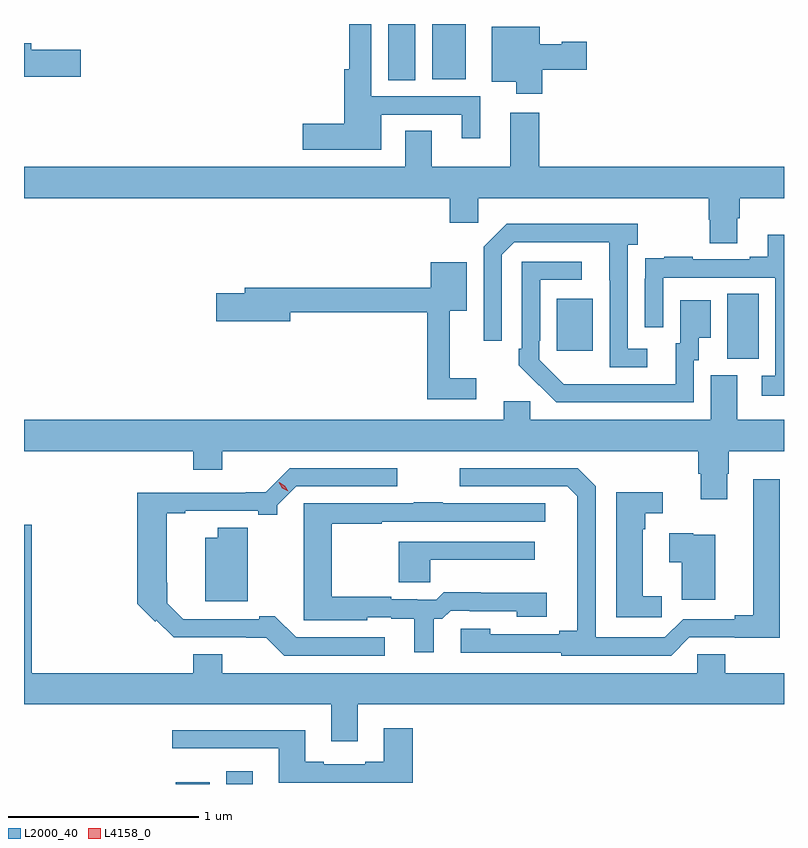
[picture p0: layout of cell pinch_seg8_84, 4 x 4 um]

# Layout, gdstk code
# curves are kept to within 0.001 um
import gdstk
lib = gdstk.Library(unit=1e-6, precision=1e-09)
def R(c, l, rs):  # rectangles x0, y0, x1, y1
    for r in rs: c.add(gdstk.rectangle(r[:2], r[2:], *l))
def P(c, l, *ps):  # polygons
    for p in ps: c.add(gdstk.Polygon(p, *l))
L2000_40 = (2000, 40)
L4158_0 = (4158, 0)

pinch_seg8_84 = lib.new_cell('pinch_seg8_84')
R(pinch_seg8_84, L2000_40, [(1019.156,1110.752,1019.335,1110.76), (1019.423,1110.752,1019.563,1110.82), (1022.06,1112.989,1022.224,1113.332), (1021.163,1113.033,1021.351,1113.307), (1020.275,1114.456,1020.418,1114.752), (1020.506,1114.46,1020.682,1114.752)])
P(pinch_seg8_84, L2000_40, [(1020.238,1114.275),(1020.662,1114.275),(1020.662,1114.152),(1020.76,1114.152),(1020.76,1114.371),(1020.186,1114.371),(1020.186,1114.752),(1020.07,1114.752),(1020.07,1114.513),(1020.044,1114.513),(1020.044,1114.226),(1019.826,1114.226),(1019.826,1114.091),(1020.238,1114.091)],
  [(1021.085,1114.511),(1021.321,1114.511),(1021.321,1114.658),(1021.188,1114.658),(1021.188,1114.645),(1021.072,1114.645),(1021.072,1114.738),(1020.821,1114.738),(1020.821,1114.448),(1020.95,1114.448),(1020.95,1114.386),(1021.085,1114.386)],
  [(1018.657,1114.616),(1018.396,1114.616),(1018.396,1114.652),(1018.358,1114.652),(1018.358,1114.474),(1018.657,1114.474)],
  [(1022.113,1113.73),(1022.126,1113.73),(1022.126,1113.836),(1022.358,1113.836),(1022.358,1114),(1021.07,1114),(1021.07,1114.285),(1020.917,1114.285),(1020.917,1114),(1020.505,1114),(1020.505,1114.19),(1020.365,1114.19),(1020.365,1114),(1018.358,1114),(1018.358,1113.836),(1020.599,1113.836),(1020.599,1113.705),(1020.75,1113.705),(1020.75,1113.836),(1021.961,1113.836),(1021.961,1113.723),(1021.966,1113.723),(1021.966,1113.598),(1022.113,1113.598)],
  [(1021.639,1113.042),(1021.536,1113.042),(1021.536,1113.59),(1021.588,1113.59),(1021.588,1113.7),(1020.898,1113.7),(1020.777,1113.579),(1020.777,1113.084),(1020.873,1113.084),(1020.873,1113.537),(1020.939,1113.603),(1021.439,1113.603),(1021.44,1112.946),(1021.639,1112.946)],
  [(1022.358,1113.643),(1022.273,1113.643),(1022.273,1113.526),(1022.177,1113.526),(1022.177,1113.513),(1021.877,1113.513),(1021.877,1113.526),(1021.729,1113.526),(1021.729,1113.519),(1021.627,1113.519),(1021.627,1113.41),(1021.626,1113.41),(1021.626,1113.156),(1021.722,1113.156),(1021.722,1113.417),(1022.313,1113.417),(1022.313,1112.901),(1022.241,1112.901),(1022.241,1112.796),(1022.358,1112.796)],
  [(1021.884,1112.982),(1021.909,1112.982),(1021.909,1113.101),(1021.972,1113.101),(1021.972,1113.298),(1021.811,1113.298),(1021.811,1113.072),(1021.787,1113.072),(1021.787,1112.856),(1021.2,1112.857),(1021.071,1112.985),(1021.071,1113.085),(1021.074,1113.085),(1021.074,1113.405),(1021.294,1113.405),(1021.294,1113.501),(1020.978,1113.501),(1020.978,1113.043),(1020.963,1113.043),(1020.963,1112.955),(1021.16,1112.76),(1021.884,1112.76)],
  [(1020.739,1112.887),(1020.599,1112.887),(1020.599,1113.242),(1020.688,1113.242),(1020.688,1113.499),(1020.5,1113.499),(1020.5,1113.364),(1019.519,1113.364),(1019.519,1113.335),(1019.37,1113.335),(1019.37,1113.188),(1019.758,1113.188),(1019.758,1113.235),(1020.481,1113.235),(1020.481,1112.778),(1020.739,1112.778)],
  [(1022.059,1112.385),(1022.067,1112.385),(1022.067,1112.504),(1022.358,1112.504),(1022.358,1112.668),(1022.113,1112.668),(1022.113,1112.904),(1021.973,1112.904),(1021.973,1112.668),(1021.023,1112.668),(1021.023,1112.766),(1020.884,1112.766),(1020.884,1112.668),(1018.358,1112.668),(1018.358,1112.504),(1019.249,1112.504),(1019.249,1112.405),(1019.401,1112.405),(1019.401,1112.504),(1021.907,1112.504),(1021.907,1112.385),(1021.919,1112.385),(1021.919,1112.25),(1022.059,1112.25)],
  [(1021.86,1111.524),(1022.335,1111.523),(1022.335,1112.356),(1022.195,1112.356),(1022.195,1111.64),(1022.099,1111.64),(1022.099,1111.62),(1021.827,1111.62),(1021.731,1111.524),(1021.368,1111.524),(1021.368,1112.319),(1021.272,1112.415),(1020.651,1112.415),(1020.651,1112.319),(1021.218,1112.319),(1021.271,1112.266),(1021.271,1111.559),(1021.175,1111.559),(1021.175,1111.539),(1020.813,1111.539),(1020.813,1111.57),(1020.657,1111.57),(1020.657,1111.443),(1021.185,1111.443),(1021.185,1111.428),(1021.764,1111.428)],
  [(1020.256,1111.524),(1019.79,1111.524),(1019.678,1111.636),(1019.597,1111.636),(1019.597,1111.62),(1019.196,1111.62),(1019.113,1111.704),(1019.113,1111.81),(1019.11,1111.81),(1019.11,1112.178),(1019.206,1112.178),(1019.206,1112.19),(1019.591,1112.19),(1019.591,1112.17),(1019.691,1112.17),(1019.691,1112.22),(1019.79,1112.319),(1020.322,1112.319),(1020.322,1112.415),(1019.757,1112.415),(1019.63,1112.288),(1019.525,1112.288),(1019.525,1112.286),(1018.955,1112.286),(1018.955,1111.701),(1019.048,1111.607),(1019.055,1111.615),(1019.145,1111.524),(1019.633,1111.523),(1019.727,1111.428),(1020.256,1111.428)],
  [(1021.714,1111.739),(1021.615,1111.739),(1021.615,1112.093),(1021.628,1112.093),(1021.628,1112.178),(1021.72,1112.178),(1021.72,1112.288),(1021.475,1112.288),(1021.475,1111.63),(1021.714,1111.63)],
  [(1020.514,1111.622),(1020.56,1111.622),(1020.603,1111.665),(1020.703,1111.665),(1020.703,1111.662),(1020.952,1111.662),(1020.952,1111.631),(1021.108,1111.631),(1021.108,1111.759),(1020.761,1111.759),(1020.761,1111.762),(1020.568,1111.762),(1020.528,1111.722),(1020.428,1111.722),(1020.428,1111.725),(1020.291,1111.725),(1020.291,1111.738),(1019.979,1111.738),(1019.979,1112.121),(1020.242,1112.121),(1020.242,1112.133),(1021.102,1112.133),(1021.102,1112.229),(1020.563,1112.229),(1020.563,1112.234),(1020.409,1112.234),(1020.409,1112.229),(1019.831,1112.229),(1019.831,1111.613),(1020.165,1111.613),(1020.165,1111.629),(1020.291,1111.629),(1020.291,1111.622),(1020.413,1111.622),(1020.413,1111.446),(1020.514,1111.446)],
  [(1020.115,1111.172),(1022.358,1111.172),(1022.358,1111.336),(1022.049,1111.336),(1022.049,1111.434),(1021.902,1111.434),(1021.902,1111.336),(1019.401,1111.336),(1019.401,1111.435),(1019.249,1111.435),(1019.249,1111.336),(1018.4,1111.336),(1018.4,1112.116),(1018.358,1112.116),(1018.358,1111.172),(1019.975,1111.172),(1019.975,1110.978),(1020.115,1110.978)],
  [(1019.536,1112.101),(1019.378,1112.101),(1019.378,1112.047),(1019.312,1112.047),(1019.312,1111.715),(1019.536,1111.715)],
  [(1021.996,1112.065),(1021.88,1112.065),(1021.88,1112.073),(1021.755,1112.073),(1021.755,1111.918),(1021.82,1111.918),(1021.82,1111.721),(1021.996,1111.721)],
  [(1020.497,1111.931),(1021.045,1111.931),(1021.045,1112.028),(1020.331,1112.028),(1020.331,1111.815),(1020.497,1111.815)],
  [(1020.404,1111.045),(1020.251,1111.045),(1020.251,1110.868),(1020.155,1110.868),(1020.155,1110.855),(1019.935,1110.855),(1019.935,1110.868),(1019.839,1110.868),(1019.839,1111.036),(1019.139,1111.036),(1019.139,1110.939),(1019.699,1110.939),(1019.699,1110.758),(1020.404,1110.758)])
P(pinch_seg8_84, L4158_0, [(1019.748,1112.293),(1019.717,1112.309),(1019.7,1112.339),(1019.7,1112.34),(1019.701,1112.34),(1019.731,1112.323),(1019.748,1112.293),(1019.748,1112.293)])

lib.write_gds('pinch_seg8_84.gds')
